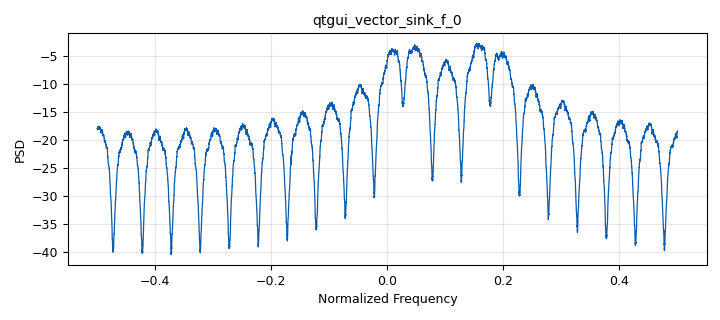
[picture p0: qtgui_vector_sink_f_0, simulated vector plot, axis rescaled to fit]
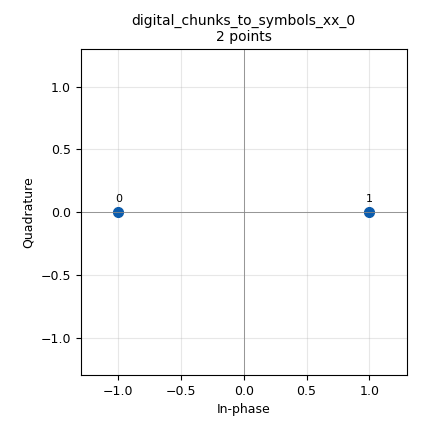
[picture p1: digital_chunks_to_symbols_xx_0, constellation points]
<?xml version='1.0' encoding='utf-8'?>
<?grc format='1' created='3.7.12'?>
<flow_graph>
<block>
<key>options</key>
<param><key>id</key><value>scf_non_conjugate</value></param>
<param><key>author</key><value>Garrett Vanhoy</value></param>
<param><key>generate_options</key><value>qt_gui</value></param>
<param><key>title</key><value>Spectral Correlation Function Non-Conjugate</value></param>
</block>
<block>
<key>variable_constellation</key>
<param><key>id</key><value>const</value></param>
<param><key>type</key><value>bpsk</value></param>
<param><key>precision</key><value>8</value></param>
</block>
<block>
<key>variable</key>
<param><key>id</key><value>fft_len</value></param>
<param><key>value</key><value>32768</value></param>
</block>
<block>
<key>variable</key>
<param><key>id</key><value>normalized_alpha</value></param>
<param><key>value</key><value>3*samp_rate/(float(symbol_period))</value></param>
</block>
<block>
<key>variable</key>
<param><key>id</key><value>normalized_center_frequency</value></param>
<param><key>value</key><value>.1</value></param>
</block>
<block>
<key>variable</key>
<param><key>id</key><value>samp_rate</value></param>
<param><key>value</key><value>1000000</value></param>
</block>
<block>
<key>variable</key>
<param><key>id</key><value>symbol_period</value></param>
<param><key>value</key><value>20</value></param>
</block>
<block>
<key>variable</key>
<param><key>id</key><value>symbol_period_shift</value></param>
<param><key>value</key><value>2</value></param>
</block>
<block>
<key>analog_random_source_x</key>
<param><key>id</key><value>analog_random_source_x_0</value></param>
<param><key>max</key><value>const.arity()</value></param>
<param><key>min</key><value>0</value></param>
<param><key>num_samps</key><value>10000000</value></param>
<param><key>type</key><value>byte</value></param>
<param><key>repeat</key><value>True</value></param>
</block>
<block>
<key>analog_sig_source_x</key>
<param><key>id</key><value>analog_sig_source_x_0</value></param>
<param><key>amp</key><value>1</value></param>
<param><key>freq</key><value>-normalized_alpha/2</value></param>
<param><key>offset</key><value>0</value></param>
<param><key>type</key><value>complex</value></param>
<param><key>samp_rate</key><value>samp_rate</value></param>
<param><key>waveform</key><value>analog.GR_COS_WAVE</value></param>
</block>
<block>
<key>analog_sig_source_x</key>
<param><key>id</key><value>analog_sig_source_x_0_0</value></param>
<param><key>amp</key><value>1</value></param>
<param><key>freq</key><value>normalized_alpha/2</value></param>
<param><key>offset</key><value>0</value></param>
<param><key>type</key><value>complex</value></param>
<param><key>samp_rate</key><value>samp_rate</value></param>
<param><key>waveform</key><value>analog.GR_COS_WAVE</value></param>
</block>
<block>
<key>analog_sig_source_x</key>
<param><key>id</key><value>analog_sig_source_x_0_0_0</value></param>
<param><key>amp</key><value>1</value></param>
<param><key>freq</key><value>samp_rate*normalized_center_frequency</value></param>
<param><key>offset</key><value>0</value></param>
<param><key>type</key><value>complex</value></param>
<param><key>samp_rate</key><value>samp_rate</value></param>
<param><key>waveform</key><value>analog.GR_COS_WAVE</value></param>
</block>
<block>
<key>blocks_abs_xx</key>
<param><key>id</key><value>blocks_abs_xx_0</value></param>
<param><key>comment</key><value>Pretty sure this needs
to go after the moving average.
Doing so resulted in
results that appeared to have
numerical artifacts.
This still gets roughly 
the same picture.
Plus, the result that comes from
the multiply should be real.</value></param>
<param><key>type</key><value>float</value></param>
</block>
<block>
<key>blocks_complex_to_real</key>
<param><key>id</key><value>blocks_complex_to_real_0</value></param>
</block>
<block>
<key>blocks_moving_average_xx</key>
<param><key>id</key><value>blocks_moving_average_xx_0</value></param>
<param><key>comment</key><value>This is effectively the frequency
smoothing right here.</value></param>
<param><key>length</key><value>164</value></param>
<param><key>max_iter</key><value>4000</value></param>
<param><key>scale</key><value>1/(164.0*fft_len)</value></param>
<param><key>type</key><value>float</value></param>
</block>
<block>
<key>blocks_multiply_const_vxx</key>
<param><key>id</key><value>blocks_multiply_const_vxx_0</value></param>
<param><key>const</key><value>10</value></param>
<param><key>type</key><value>float</value></param>
</block>
<block>
<key>blocks_multiply_xx</key>
<param><key>id</key><value>blocks_multiply_xx_0</value></param>
<param><key>type</key><value>complex</value></param>
</block>
<block>
<key>blocks_multiply_xx</key>
<param><key>id</key><value>blocks_multiply_xx_0_0</value></param>
<param><key>type</key><value>complex</value></param>
</block>
<block>
<key>blocks_multiply_xx</key>
<param><key>id</key><value>blocks_multiply_xx_0_1</value></param>
<param><key>type</key><value>complex</value></param>
</block>
<block>
<key>blocks_multiply_xx</key>
<param><key>id</key><value>blocks_multiply_xx_2</value></param>
<param><key>type</key><value>complex</value></param>
</block>
<block>
<key>blocks_nlog10_ff</key>
<param><key>id</key><value>blocks_nlog10_ff_0</value></param>
<param><key>k</key><value>0</value></param>
</block>
<block>
<key>blocks_repeat</key>
<param><key>id</key><value>blocks_repeat_0</value></param>
<param><key>comment</key><value>Effectively a 
rectangular pulse
shape</value></param>
<param><key>interp</key><value>symbol_period</value></param>
<param><key>type</key><value>complex</value></param>
</block>
<block>
<key>blocks_stream_to_vector</key>
<param><key>id</key><value>blocks_stream_to_vector_0</value></param>
<param><key>type</key><value>complex</value></param>
<param><key>num_items</key><value>fft_len</value></param>
</block>
<block>
<key>blocks_stream_to_vector</key>
<param><key>id</key><value>blocks_stream_to_vector_0_0</value></param>
<param><key>type</key><value>float</value></param>
<param><key>num_items</key><value>fft_len</value></param>
</block>
<block>
<key>blocks_stream_to_vector</key>
<param><key>id</key><value>blocks_stream_to_vector_0_1</value></param>
<param><key>type</key><value>complex</value></param>
<param><key>num_items</key><value>fft_len</value></param>
</block>
<block>
<key>blocks_throttle</key>
<param><key>id</key><value>blocks_throttle_0</value></param>
<param><key>samples_per_second</key><value>samp_rate</value></param>
<param><key>type</key><value>complex</value></param>
</block>
<block>
<key>blocks_vector_to_stream</key>
<param><key>id</key><value>blocks_vector_to_stream_0_0_0</value></param>
<param><key>type</key><value>complex</value></param>
<param><key>num_items</key><value>fft_len</value></param>
</block>
<block>
<key>blocks_vector_to_stream</key>
<param><key>id</key><value>blocks_vector_to_stream_0_0_0_0</value></param>
<param><key>type</key><value>complex</value></param>
<param><key>num_items</key><value>fft_len</value></param>
</block>
<block>
<key>digital_chunks_to_symbols_xx</key>
<param><key>id</key><value>digital_chunks_to_symbols_xx_0</value></param>
<param><key>dimension</key><value>1</value></param>
<param><key>in_type</key><value>byte</value></param>
<param><key>out_type</key><value>complex</value></param>
<param><key>symbol_table</key><value>const.points()</value></param>
</block>
<block>
<key>fft_vxx</key>
<param><key>id</key><value>fft_vxx_0</value></param>
<param><key>fft_size</key><value>fft_len</value></param>
<param><key>forward</key><value>True</value></param>
<param><key>type</key><value>complex</value></param>
<param><key>shift</key><value>True</value></param>
<param><key>window</key><value>window.hamming(fft_len)</value></param>
</block>
<block>
<key>fft_vxx</key>
<param><key>id</key><value>fft_vxx_0_0</value></param>
<param><key>fft_size</key><value>fft_len</value></param>
<param><key>forward</key><value>True</value></param>
<param><key>type</key><value>complex</value></param>
<param><key>shift</key><value>True</value></param>
<param><key>window</key><value>window.hamming(fft_len)</value></param>
</block>
<block>
<key>import</key>
<param><key>id</key><value>import_0</value></param>
<param><key>import</key><value>import numpy as np</value></param>
</block>
<block>
<key>qtgui_vector_sink_f</key>
<param><key>id</key><value>qtgui_vector_sink_f_0</value></param>
<param><key>showports</key><value>True</value></param>
<param><key>update_time</key><value>0.1</value></param>
<param><key>vlen</key><value>fft_len</value></param>
<param><key>x_axis_label</key><value>"Normalized Frequency"</value></param>
<param><key>x_start</key><value>-.5</value></param>
<param><key>x_step</key><value>1/float(fft_len)</value></param>
<param><key>x_units</key><value>"Hz"</value></param>
<param><key>ymin</key><value>-20</value></param>
<param><key>y_axis_label</key><value>"PSD"</value></param>
<param><key>y_units</key><value>"dB"</value></param>
</block>
<connection><source_block_id>analog_random_source_x_0</source_block_id><sink_block_id>digital_chunks_to_symbols_xx_0</sink_block_id><source_key>0</source_key><sink_key>0</sink_key></connection>
<connection><source_block_id>analog_sig_source_x_0</source_block_id><sink_block_id>blocks_multiply_xx_0_0</sink_block_id><source_key>0</source_key><sink_key>1</sink_key></connection>
<connection><source_block_id>analog_sig_source_x_0_0</source_block_id><sink_block_id>blocks_multiply_xx_0</sink_block_id><source_key>0</source_key><sink_key>0</sink_key></connection>
<connection><source_block_id>analog_sig_source_x_0_0_0</source_block_id><sink_block_id>blocks_multiply_xx_0_1</sink_block_id><source_key>0</source_key><sink_key>0</sink_key></connection>
<connection><source_block_id>blocks_abs_xx_0</source_block_id><sink_block_id>blocks_moving_average_xx_0</sink_block_id><source_key>0</source_key><sink_key>0</sink_key></connection>
<connection><source_block_id>blocks_complex_to_real_0</source_block_id><sink_block_id>blocks_abs_xx_0</sink_block_id><source_key>0</source_key><sink_key>0</sink_key></connection>
<connection><source_block_id>blocks_moving_average_xx_0</source_block_id><sink_block_id>blocks_nlog10_ff_0</sink_block_id><source_key>0</source_key><sink_key>0</sink_key></connection>
<connection><source_block_id>blocks_multiply_const_vxx_0</source_block_id><sink_block_id>blocks_stream_to_vector_0_0</sink_block_id><source_key>0</source_key><sink_key>0</sink_key></connection>
<connection><source_block_id>blocks_multiply_xx_0</source_block_id><sink_block_id>blocks_stream_to_vector_0</sink_block_id><source_key>0</source_key><sink_key>0</sink_key></connection>
<connection><source_block_id>blocks_multiply_xx_0_0</source_block_id><sink_block_id>blocks_stream_to_vector_0_1</sink_block_id><source_key>0</source_key><sink_key>0</sink_key></connection>
<connection><source_block_id>blocks_multiply_xx_0_1</source_block_id><sink_block_id>blocks_multiply_xx_0</sink_block_id><source_key>0</source_key><sink_key>1</sink_key></connection>
<connection><source_block_id>blocks_multiply_xx_0_1</source_block_id><sink_block_id>blocks_multiply_xx_0_0</sink_block_id><source_key>0</source_key><sink_key>0</sink_key></connection>
<connection><source_block_id>blocks_multiply_xx_2</source_block_id><sink_block_id>blocks_complex_to_real_0</sink_block_id><source_key>0</source_key><sink_key>0</sink_key></connection>
<connection><source_block_id>blocks_nlog10_ff_0</source_block_id><sink_block_id>blocks_multiply_const_vxx_0</sink_block_id><source_key>0</source_key><sink_key>0</sink_key></connection>
<connection><source_block_id>blocks_repeat_0</source_block_id><sink_block_id>blocks_multiply_xx_0_1</sink_block_id><source_key>0</source_key><sink_key>1</sink_key></connection>
<connection><source_block_id>blocks_stream_to_vector_0</source_block_id><sink_block_id>fft_vxx_0</sink_block_id><source_key>0</source_key><sink_key>0</sink_key></connection>
<connection><source_block_id>blocks_stream_to_vector_0_0</source_block_id><sink_block_id>qtgui_vector_sink_f_0</sink_block_id><source_key>0</source_key><sink_key>0</sink_key></connection>
<connection><source_block_id>blocks_stream_to_vector_0_1</source_block_id><sink_block_id>fft_vxx_0_0</sink_block_id><source_key>0</source_key><sink_key>0</sink_key></connection>
<connection><source_block_id>blocks_throttle_0</source_block_id><sink_block_id>blocks_repeat_0</sink_block_id><source_key>0</source_key><sink_key>0</sink_key></connection>
<connection><source_block_id>blocks_vector_to_stream_0_0_0</source_block_id><sink_block_id>blocks_multiply_xx_2</sink_block_id><source_key>0</source_key><sink_key>0</sink_key></connection>
<connection><source_block_id>blocks_vector_to_stream_0_0_0_0</source_block_id><sink_block_id>blocks_multiply_xx_2</sink_block_id><source_key>0</source_key><sink_key>1</sink_key></connection>
<connection><source_block_id>digital_chunks_to_symbols_xx_0</source_block_id><sink_block_id>blocks_throttle_0</sink_block_id><source_key>0</source_key><sink_key>0</sink_key></connection>
<connection><source_block_id>fft_vxx_0</source_block_id><sink_block_id>blocks_vector_to_stream_0_0_0_0</sink_block_id><source_key>0</source_key><sink_key>0</sink_key></connection>
<connection><source_block_id>fft_vxx_0_0</source_block_id><sink_block_id>blocks_vector_to_stream_0_0_0</sink_block_id><source_key>0</source_key><sink_key>0</sink_key></connection>
</flow_graph>
